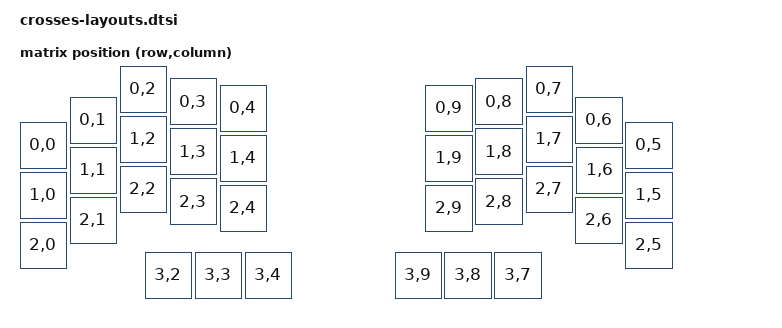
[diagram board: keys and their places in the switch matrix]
#include <dt-bindings/zmk/matrix_transform.h>
#include <physical_layouts.dtsi>

/ {
    // Matrix transform for physical layout
    default_transform: matrix_transform_0 {
        compatible = "zmk,matrix-transform";
        columns = <12>;
        rows = <4>;

        map = <
            RC(0,0) RC(0,1) RC(0,2) RC(0,3) RC(0,4)               RC(0,9) RC(0,8) RC(0,7) RC(0,6) RC(0,5)
            RC(1,0) RC(1,1) RC(1,2) RC(1,3) RC(1,4)               RC(1,9) RC(1,8) RC(1,7) RC(1,6) RC(1,5)
            RC(2,0) RC(2,1) RC(2,2) RC(2,3) RC(2,4)               RC(2,9) RC(2,8) RC(2,7) RC(2,6) RC(2,5)
                            RC(3,2) RC(3,3) RC(3,4)               RC(3,9) RC(3,8) RC(3,7)
        >;
    };

    physical_layout0: physical_layout_0 {
        compatible = "zmk,physical-layout";
        display-name = "gggw_crosses_36_layout";

        kscan = <&kscan0>;
        transform = <&default_transform>;

        keys  //                     w   h    x    y     rot    rx    ry
            = <&key_physical_attrs 100 100    0  112       0     0     0>
            , <&key_physical_attrs 100 100  100   62       0     0     0>
            , <&key_physical_attrs 100 100  200    0       0     0     0>
            , <&key_physical_attrs 100 100  300   25       0     0     0>
            , <&key_physical_attrs 100 100  400   38       0     0     0>
            , <&key_physical_attrs 100 100  812   38       0     0     0>
            , <&key_physical_attrs 100 100  912   25       0     0     0>
            , <&key_physical_attrs 100 100 1012    0       0     0     0>
            , <&key_physical_attrs 100 100 1112   62       0     0     0>
            , <&key_physical_attrs 100 100 1212  112       0     0     0>
            , <&key_physical_attrs 100 100    0  212       0     0     0>
            , <&key_physical_attrs 100 100  100  162       0     0     0>
            , <&key_physical_attrs 100 100  200  100       0     0     0>
            , <&key_physical_attrs 100 100  300  125       0     0     0>
            , <&key_physical_attrs 100 100  400  138       0     0     0>
            , <&key_physical_attrs 100 100  812  138       0     0     0>
            , <&key_physical_attrs 100 100  912  125       0     0     0>
            , <&key_physical_attrs 100 100 1012  100       0     0     0>
            , <&key_physical_attrs 100 100 1113  162       0     0     0>
            , <&key_physical_attrs 100 100 1212  212       0     0     0>
            , <&key_physical_attrs 100 100    0  312       0     0     0>
            , <&key_physical_attrs 100 100  100  262       0     0     0>
            , <&key_physical_attrs 100 100  200  200       0     0     0>
            , <&key_physical_attrs 100 100  300  225       0     0     0>
            , <&key_physical_attrs 100 100  400  238       0     0     0>
            , <&key_physical_attrs 100 100  812  238       0     0     0>
            , <&key_physical_attrs 100 100  912  225       0     0     0>
            , <&key_physical_attrs 100 100 1012  200       0     0     0>
            , <&key_physical_attrs 100 100 1112  262       0     0     0>
            , <&key_physical_attrs 100 100 1212  312       0     0     0>
            , <&key_physical_attrs 100 100  250  372       0     0     0>
            , <&key_physical_attrs 100 100  350  372       0     0     0>
            , <&key_physical_attrs 100 100  450  372       0     0     0>
            , <&key_physical_attrs 100 100  750  372       0     0     0>
            , <&key_physical_attrs 100 100  850  372       0     0     0>
            , <&key_physical_attrs 100 100  950  372       0     0     0>
            ;
    };
};
